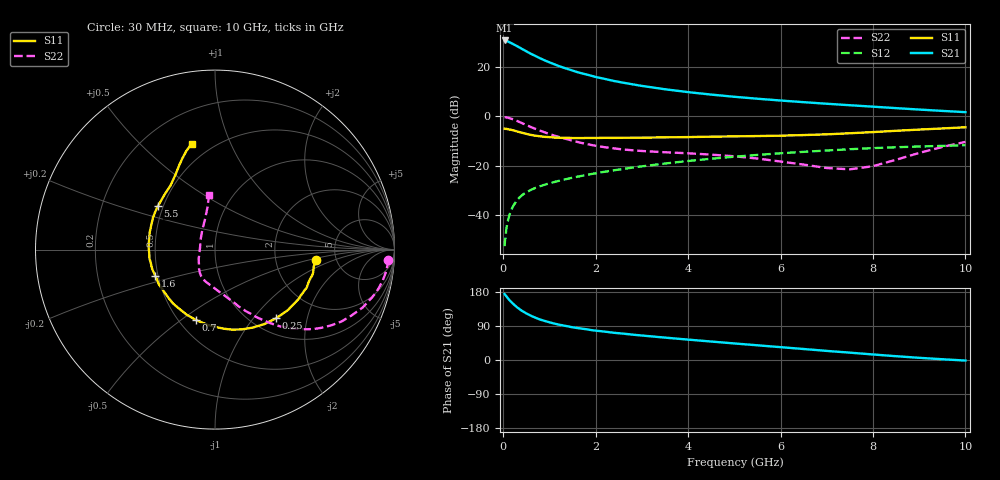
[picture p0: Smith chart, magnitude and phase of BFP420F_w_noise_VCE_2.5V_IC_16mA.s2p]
! Infineon Technologies  Discrete & RF Semiconductors
! BFP420F
! VCE =  2.5 V,  IC =  16 mA
! Common Emitter S-Parameters:  Sep 2011
# GHz  S  MA  R  50
!  f  S11  S21  S12  S22
! GHz  MAG  ANG  MAG  ANG  MAG  ANG  MAG  ANG
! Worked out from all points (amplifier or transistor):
!   54 points, 30 MHz to 10 GHz, reference 50 ohm
!   highest |S21| = 30.9 dB at 30 MHz (marker M1)
!   |S21| within 3 dB of that: start of sweep to 364.5 MHz
!   unconditionally stable (mu >= 1): 1.804 GHz to end of sweep
!   at 120 MHz: K = 0.22, MSG = 35.7 dB, |S12| = -41.1 dB
!   at 1.3 GHz: K = 0.86, MSG = 22.8 dB, |S12| = -25.7 dB
!   at 10 GHz: K = 1.25, MAG = 3.7 dB, |S12| = -11.7 dB
!   lowest NFmin = 1.40 dB at 450 MHz
!   S11 on the Smith chart (normalised r, x): 30 MHz: 3.48, -0.62; 250 MHz: 1.27, -1.32; 700 MHz: 0.61, -0.57; 1.6 GHz: 0.48, -0.17; 5.5 GHz: 0.47, +0.27; 10 GHz: 0.39, +0.72
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0.03  0.5654 -6.1  35.22 174.0  0.0023 92.5  0.9665 -3.3
0.05  0.5578 -9.5  34.65 170.5  0.0034 84.8  0.9641 -5.6
0.07  0.5606 -14.8  34.48 167.9  0.0054 83.6  0.9586 -8.0
0.12  0.5474 -24.8  33.02 160.0  0.0088 80.7  0.9353 -13.6
0.2  0.5278 -39.7  30.22 150.0  0.0142 75.5  0.8839 -21.4
0.25  0.5122 -48.4  28.48 144.2  0.017 73.0  0.8461 -25.6
0.3  0.4972 -56.8  27 139.1  0.02 70.3  0.8108 -29.6
0.35  0.4822 -64.4  25.39 134.5  0.0224 68.1  0.7727 -33.1
0.45  0.4558 -78.0  22.52 126.5  0.0268 65.0  0.7037 -39.0
0.6  0.4217 -95.5  18.84 116.7  0.0321 61.7  0.6094 -46.0
0.7  0.406 -105.3  16.96 111.4  0.0354 60.5  0.5595 -49.8
0.9  0.385 -121.3  13.8 103.0  0.041 59.1  0.4747 -55.8
1.1  0.3736 -133.8  11.6 96.3  0.0463 58.5  0.4099 -60.8
1.3  0.3667 -143.9  9.876 91.1  0.0516 58.3  0.3616 -65.3
1.6  0.364 -155.9  8.003 84.4  0.0594 58.0  0.3049 -71.6
1.7  0.3638 -159.1  7.553 82.8  0.062 58.0  0.289 -73.6
2.4  0.3668 -176.5  5.268 71.8  0.0806 56.8  0.224 -87.8
3.5  0.3765 165.3  3.581 59.1  0.1105 53.4  0.1872 -105.2
5.5  0.4 142.8  2.297 38.8  0.1653 43.0  0.1396 -129.5
7  0.4335 125.1  1.816 24.0  0.2032 33.7  0.0895 -166.2
8.5  0.512 112.8  1.479 10.0  0.2369 23.3  0.1318 122.4
10  0.6034 102.5  1.225 -1.5  0.2598 14.2  0.3039 96.3
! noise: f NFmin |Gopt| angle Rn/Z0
0.45  1.4  0.11  177  0.19
0.9  1.41  0.12  171  0.13
1.9  1.53  0.22  -175  0.14
2.4  1.59  0.22  -173  0.12
3.5  1.84  0.26  -161  0.16
